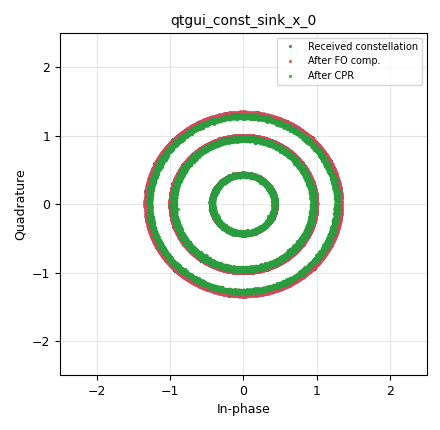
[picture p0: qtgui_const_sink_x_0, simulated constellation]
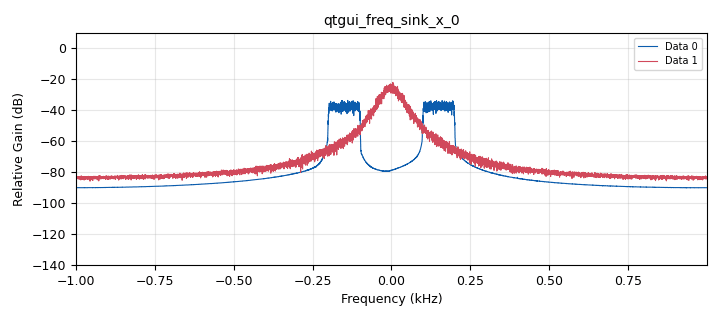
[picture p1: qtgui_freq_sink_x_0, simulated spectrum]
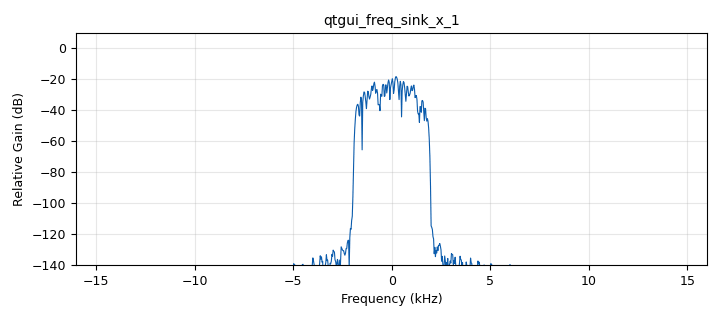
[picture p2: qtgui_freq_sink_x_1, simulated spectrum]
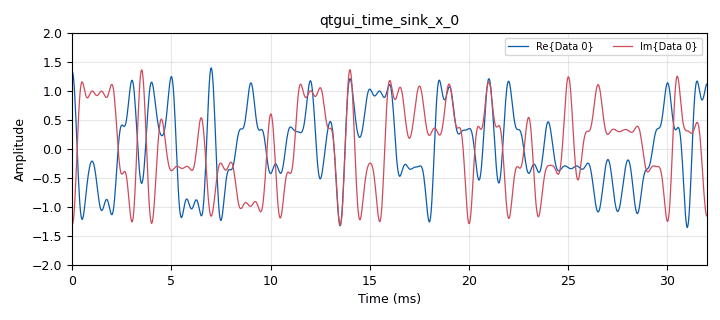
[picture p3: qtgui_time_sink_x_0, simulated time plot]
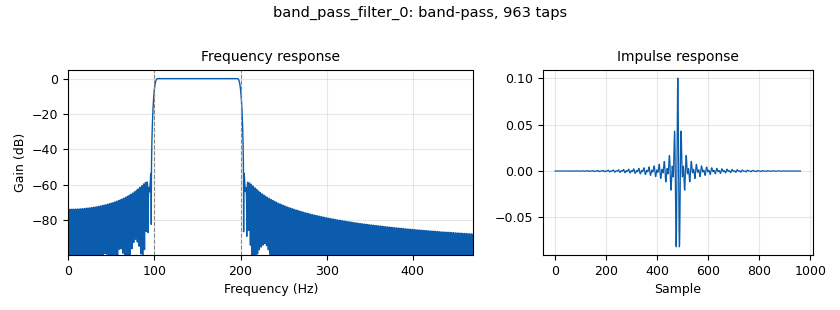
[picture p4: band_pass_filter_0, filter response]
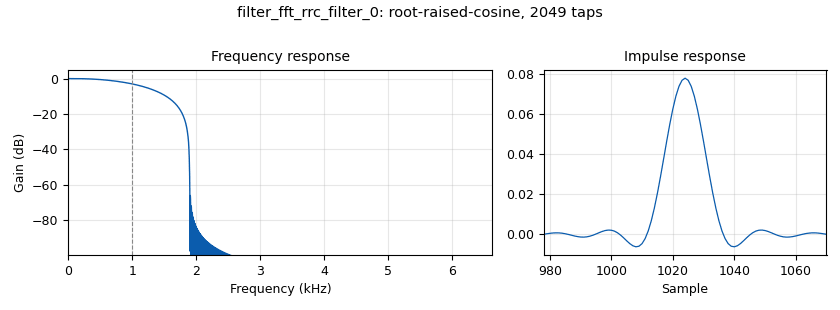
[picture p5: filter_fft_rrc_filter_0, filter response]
options:
  parameters:
    author: edson
    generate_options: qt_gui
    id: simQAM
    output_language: python
    title: Phase and frequency offset in 16QAM
  states: {}

blocks:
- name: AdaptiveEqualizer
  id: variable_adaptive_algorithm
  parameters:
    cons: Constellation
    step_size: '.0005'
    type: lms
  states: {}
- name: BandPass_f_high
  id: variable_qtgui_range
  parameters:
    start: '10'
    step: '1'
    stop: samp_rate/SamplesPerSymbol/2
    value: '200'
  states: {}
- name: BandPass_f_low
  id: variable_qtgui_range
  parameters:
    start: '10'
    step: '1'
    stop: samp_rate/SamplesPerSymbol/2
    value: '100'
  states: {}
- name: Constellation
  id: variable_constellation
  parameters:
    precision: '8'
    type: 16qam
  states: {}
- name: FO
  id: variable_qtgui_range
  parameters:
    label: FreqOffset
    start: '0'
    step: '5'
    stop: '400'
    value: '100'
  states: {}
- name: SamplesPerSymbol
  id: variable
  parameters:
    value: '16'
  states: {}
- name: delay
  id: variable_qtgui_range
  parameters:
    rangeType: int
    start: '0'
    step: '1'
    stop: '32'
    value: '0'
  states: {}
- name: noiseStd
  id: variable_qtgui_range
  parameters:
    start: '0'
    step: '0.01'
    stop: '1'
    value: '0'
  states: {}
- name: pll_L1
  id: variable_qtgui_range
  parameters:
    label: PLL Loop BW
    start: '10'
    step: '5'
    stop: '200'
    value: '50'
  states: {}
- name: pll_L2
  id: variable_qtgui_range
  parameters:
    label: +B_pll/-B_pll
    start: '100'
    step: '10'
    stop: '2000'
    value: '100'
  states: {}
- name: rolloff
  id: variable
  parameters:
    value: '0.9'
  states: {}
- name: samp_rate
  id: variable
  parameters:
    value: '32000'
  states: {}
- name: analog_const_source_x_0
  id: analog_const_source_x
  parameters:
    const: '-(2*3.1459*4)/(samp_rate/SamplesPerSymbol)'
    type: float
  states: {}
- name: analog_noise_source_x_0
  id: analog_noise_source_x
  parameters:
    amp: noiseStd
    noise_type: analog.GR_GAUSSIAN
    seed: '0'
    type: complex
  states: {}
- name: analog_pll_freqdet_cf_0
  id: analog_pll_freqdet_cf
  parameters:
    max_freq: 2*3.1459*pll_L2/(samp_rate/SamplesPerSymbol)
    min_freq: '-2*3.1459*pll_L2/(samp_rate/SamplesPerSymbol)'
    w: 2*3.1459*pll_L1/(samp_rate/SamplesPerSymbol)
  states: {}
- name: analog_random_source_x_0
  id: analog_random_source_x
  parameters:
    max: '256'
    min: '0'
    num_samps: '40000'
    repeat: 'True'
    type: byte
  states: {}
- name: band_pass_filter_0
  id: band_pass_filter
  parameters:
    decim: '1'
    gain: '1'
    high_cutoff_freq: BandPass_f_high
    low_cutoff_freq: BandPass_f_low
    samp_rate: samp_rate/SamplesPerSymbol
    type: fir_filter_ccf
    width: '5'
    win: window.WIN_HAMMING
  states: {}
- name: blocks_add_xx_0
  id: blocks_add_xx
  parameters:
    type: complex
  states: {}
- name: blocks_delay_0
  id: blocks_delay
  parameters:
    delay: delay
    type: complex
  states: {}
- name: blocks_divide_xx_0
  id: blocks_divide_xx
  parameters:
    type: float
  states: {}
- name: blocks_exponentiate_const_cci_0
  id: blocks_exponentiate_const_cci
  parameters:
    exponent: '4'
  states: {}
- name: blocks_freqshift_cc_0
  id: blocks_freqshift_cc
  parameters:
    freq: FO
    sample_rate: samp_rate
  states: {}
- name: blocks_multiply_const_vxx_0
  id: blocks_multiply_const_vxx
  parameters:
    const: '2.5'
    type: complex
  states: {}
- name: blocks_multiply_xx_0
  id: blocks_multiply_xx
  parameters:
    type: complex
  states: {}
- name: blocks_vco_c_0
  id: blocks_vco_c
  parameters:
    amplitude: '1'
    samp_rate: samp_rate/SamplesPerSymbol
    sensitivity: 2*3.1459
  states: {}
- name: digital_constellation_modulator_0
  id: digital_constellation_modulator
  parameters:
    constellation: Constellation
    differential: 'False'
    excess_bw: rolloff
    samples_per_symbol: SamplesPerSymbol
  states: {}
- name: digital_linear_equalizer_0
  id: digital_linear_equalizer
  parameters:
    alg: AdaptiveEqualizer
    num_taps: '3'
    sps: '1'
  states: {}
- name: filter_fft_rrc_filter_0
  id: filter_fft_rrc_filter
  parameters:
    alpha: rolloff
    decim: SamplesPerSymbol
    gain: '1'
    ntaps: '2048'
    samp_rate: samp_rate
    sym_rate: samp_rate/SamplesPerSymbol
    type: ccc
  states: {}
- name: qtgui_const_sink_x_0
  id: qtgui_const_sink_x
  parameters:
    color3: '"black"'
    gui_hint: 2,3,2,3
    label1: Received constellation
    label2: After FO comp.
    label3: After CPR
    nconnections: '3'
    size: '20000'
    type: complex
    xmax: '2.5'
    xmin: '-2.5'
    ymax: '2.5'
    ymin: '-2.5'
  states: {}
- name: qtgui_freq_sink_x_0
  id: qtgui_freq_sink_x
  parameters:
    average: '0.05'
    bw: samp_rate/SamplesPerSymbol
    fc: '0'
    fftsize: 1024*8
    gui_hint: 2,0,2,3
    nconnections: '2'
    type: complex
    wintype: window.WIN_RECTANGULAR
  states: {}
- name: qtgui_freq_sink_x_1
  id: qtgui_freq_sink_x
  parameters:
    bw: samp_rate
    fc: '0'
    fftsize: '1024'
    gui_hint: 0,0,2,3
    type: complex
  states: {}
- name: qtgui_number_sink_0
  id: qtgui_number_sink
  parameters:
    graph_type: qtgui.NUM_GRAPH_NONE
    name: Estimated frequency offset
    type: float
  states: {}
- name: qtgui_time_sink_x_0
  id: qtgui_time_sink_x
  parameters:
    entags: 'False'
    gui_hint: 0,3,2,3
    size: '1024'
    srate: samp_rate
    type: complex
    ymax: '2'
    ymin: '-2'
  states: {}

connections:
- [analog_const_source_x_0, '0', blocks_divide_xx_0, '1']
- [analog_noise_source_x_0, '0', blocks_add_xx_0, '1']
- [analog_pll_freqdet_cf_0, '0', blocks_divide_xx_0, '0']
- [analog_random_source_x_0, '0', digital_constellation_modulator_0, '0']
- [band_pass_filter_0, '0', analog_pll_freqdet_cf_0, '0']
- [band_pass_filter_0, '0', qtgui_freq_sink_x_0, '0']
- [blocks_add_xx_0, '0', blocks_freqshift_cc_0, '0']
- [blocks_delay_0, '0', filter_fft_rrc_filter_0, '0']
- [blocks_divide_xx_0, '0', blocks_vco_c_0, '0']
- [blocks_divide_xx_0, '0', qtgui_number_sink_0, '0']
- [blocks_exponentiate_const_cci_0, '0', band_pass_filter_0, '0']
- [blocks_freqshift_cc_0, '0', blocks_delay_0, '0']
- [blocks_multiply_const_vxx_0, '0', qtgui_const_sink_x_0, '2']
- [blocks_multiply_xx_0, '0', digital_linear_equalizer_0, '0']
- [blocks_multiply_xx_0, '0', qtgui_const_sink_x_0, '1']
- [blocks_vco_c_0, '0', blocks_multiply_xx_0, '1']
- [blocks_vco_c_0, '0', qtgui_freq_sink_x_0, '1']
- [digital_constellation_modulator_0, '0', blocks_add_xx_0, '0']
- [digital_constellation_modulator_0, '0', qtgui_freq_sink_x_1, '0']
- [digital_constellation_modulator_0, '0', qtgui_time_sink_x_0, '0']
- [digital_linear_equalizer_0, '0', blocks_multiply_const_vxx_0, '0']
- [filter_fft_rrc_filter_0, '0', blocks_exponentiate_const_cci_0, '0']
- [filter_fft_rrc_filter_0, '0', blocks_multiply_xx_0, '0']
- [filter_fft_rrc_filter_0, '0', qtgui_const_sink_x_0, '0']

metadata:
  file_format: 1
  grc_version: 3.10.7.0
